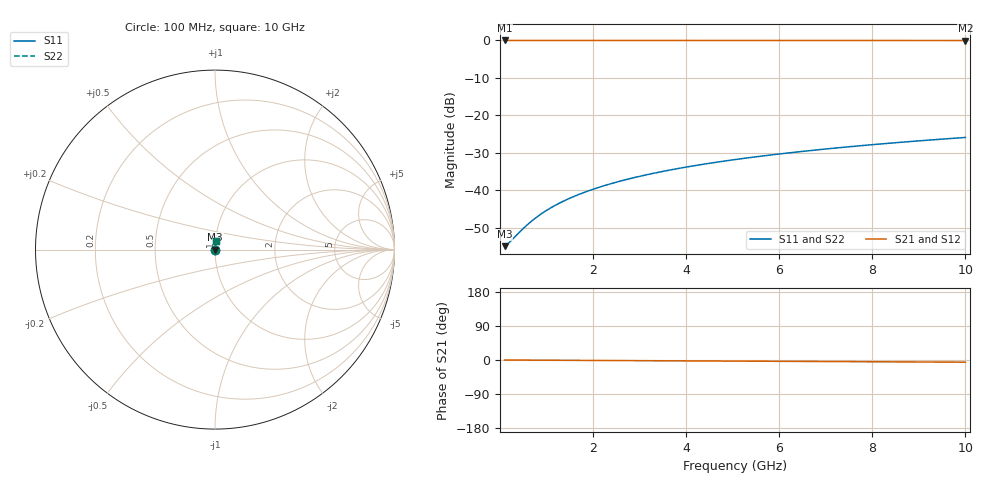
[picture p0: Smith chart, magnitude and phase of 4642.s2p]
# Hz S RI R 50.00
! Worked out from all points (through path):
!   100 points, 100 MHz to 10 GHz, reference 50 ohm
!   highest |S21| = -0.01 dB at 100 MHz (marker M1); lowest = 0.0 dB at 10 GHz (marker M2)
!   lowest |S11| = -55.0 dB at 100 MHz (marker M3), VSWR 1.00, Z = 50.2 + j0.0505 ohm
!   |S11| at or under -10 dB: start of sweep to end of sweep
!   |S22| runs from -55.0 to -25.9 dB; largest |S21 - S12| = 0
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1e8  0.00171 0.000504  0.9983 -0.00101  0.9983 -0.00101  0.00171 0.000504
2e8  0.00172 0.00101  0.9983 -0.00201  0.9983 -0.00201  0.00172 0.00101
5e8  0.00175 0.00252  0.9982 -0.00504  0.9982 -0.00504  0.00175 0.00252
6e8  0.00176 0.00302  0.9982 -0.00604  0.9982 -0.00604  0.00176 0.00302
7e8  0.00177 0.00353  0.9982 -0.00705  0.9982 -0.00705  0.00177 0.00353
9e8  0.0018 0.00453  0.9982 -0.00907  0.9982 -0.00907  0.0018 0.00453
1.1e9  0.00183 0.00554  0.9982 -0.0111  0.9982 -0.0111  0.00183 0.00554
1.3e9  0.00186 0.00655  0.9981 -0.0131  0.9981 -0.0131  0.00186 0.00655
1.5e9  0.00189 0.00755  0.9981 -0.0151  0.9981 -0.0151  0.00189 0.00755
1.8e9  0.00195 0.00906  0.998 -0.0181  0.998 -0.0181  0.00195 0.00906
2.1e9  0.00201 0.0106  0.9979 -0.0212  0.9979 -0.0212  0.00201 0.0106
2.5e9  0.00211 0.0126  0.9978 -0.0252  0.9978 -0.0252  0.00211 0.0126
2.9e9  0.00223 0.0146  0.9976 -0.0292  0.9976 -0.0292  0.00223 0.0146
3.4e9  0.0024 0.0171  0.9974 -0.0342  0.9974 -0.0342  0.0024 0.0171
3.8e9  0.00255 0.0191  0.9972 -0.0383  0.9972 -0.0383  0.00255 0.0191
4.2e9  0.00272 0.0211  0.997 -0.0423  0.997 -0.0423  0.00272 0.0211
5.1e9  0.00316 0.0256  0.9965 -0.0513  0.9965 -0.0513  0.00316 0.0256
5.9e9  0.00362 0.0296  0.9959 -0.0594  0.9959 -0.0594  0.00362 0.0296
6.7e9  0.00414 0.0336  0.9953 -0.0674  0.9953 -0.0674  0.00414 0.0336
7.5e9  0.00473 0.0376  0.9945 -0.0755  0.9945 -0.0755  0.00473 0.0376
8.4e9  0.00547 0.0421  0.9936 -0.0845  0.9936 -0.0845  0.00547 0.0421
1e10  0.00698 0.05  0.9917 -0.1005  0.9917 -0.1005  0.00698 0.05
